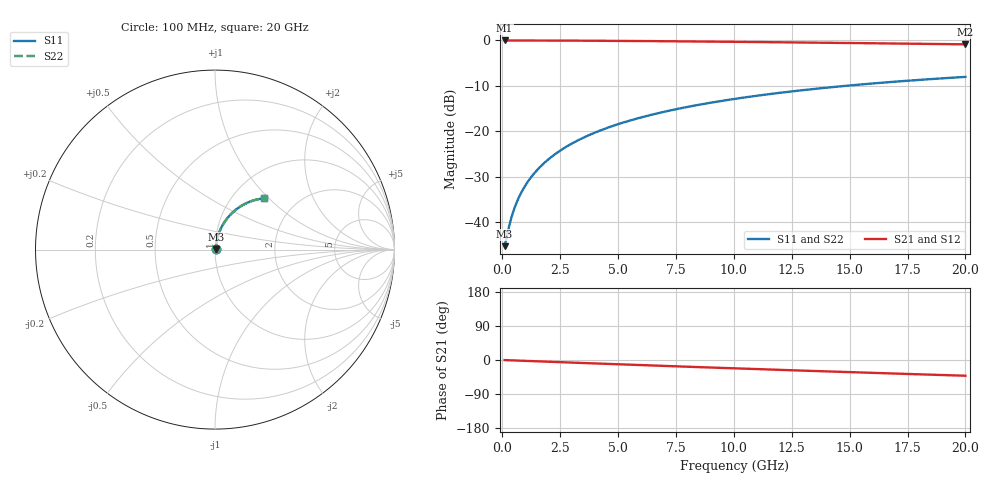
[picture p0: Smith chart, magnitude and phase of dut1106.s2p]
! Touchstone file exported from HFSS 2026.1.0
!  File:  C:/ffzhzh/LocalFiles/Ansys_Project_Files/temp_train_TMRDL_1106_1783161345_43440.aedt
!  Generated:  06:36:57 PM Jul  4, 2026
!  Design:  TMRDL
!  Project:  temp_train_TMRDL_1106_1783161345_43440
! Variables:
!  h_bsmrdl = 2um
!  h_ox = 20um
!  h_rdl = 5um
!  h_sub = 80um
!  h_tmrdl = 4.57um
!  h_tsv = 80um
!  h_via = 3um
!  l_bsmrdl = 300um
!  l_sub = 1023.63um
!  l_tmrdl = 623.63um
!  m_sub = 200um
!  pitch = 29.67um
!  r_tsv = 6um
!  s_tmrdl = 10um
!  w_bsmrdl = 18um
!  w_sub = 500um
!  w_tmrdl = 10.1um
!  x_tsv_center1 = 628.68um
!  x_tsv_center2 = 946.68um
!  x_tsv_center3 = 1580.41um
!  x_tsv_center4 = 1898.41um
!  x_tsv_center5 = 2532.14um
!  x_tsv_center6 = 2850.14um
# GHz S MA R 50.000000
! Terminal data exported
! Port[1] = TM_RDL1_1_T1
! Port[2] = TM_RDL1_1_T2
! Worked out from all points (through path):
!   200 points, 100 MHz to 20 GHz, reference 50 ohm
!   highest |S21| = -0.04 dB at 100 MHz (marker M1); lowest = -0.9 dB at 20 GHz (marker M2)
!   group delay of S21, straight-line fit = 5.76 ps
!   lowest |S11| = -45.3 dB at 100 MHz (marker M3), VSWR 1.01, Z = 50.5 + j0.259 ohm
!   |S11| at or under -10 dB: start of sweep to 14.87 GHz
!   |S22| runs from -45.3 to -8.1 dB; largest |S21 - S12| = 4.3e-15
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0.1  0.005446 28.2  0.9952 -0.2  0.9952 -0.2  0.005446 28.2
! Gamma 0 0 0 0
! Port Impedance 50 0 50 0
0.3  0.009147 56.5  0.995 -0.7  0.995 -0.7  0.009147 56.5
0.4  0.01137 62.6  0.9949 -0.9  0.9949 -0.9  0.01137 62.6
0.5  0.01366 66.6  0.9948 -1.2  0.9948 -1.2  0.01366 66.6
0.6  0.01599 69.4  0.9946 -1.4  0.9946 -1.4  0.01599 69.4
0.7  0.01833 71.4  0.9945 -1.6  0.9945 -1.6  0.01833 71.4
0.9  0.02304 74.2  0.9943 -2.1  0.9943 -2.1  0.02304 74.2
1.2  0.03017 76.4  0.9939 -2.8  0.9939 -2.8  0.03017 76.4
1.4  0.03494 77.3  0.9937 -3.2  0.9937 -3.2  0.03494 77.3
1.7  0.04211 78.0  0.9933 -3.9  0.9933 -3.9  0.04211 78.0
2.2  0.05406 78.4  0.9924 -5.0  0.9924 -5.0  0.05406 78.4
2.8  0.06834 78.0  0.9911 -6.4  0.9911 -6.4  0.06834 78.0
3.5  0.08485 77.2  0.9893 -8.0  0.9893 -8.0  0.08485 77.2
4.2  0.1011 76.1  0.9872 -9.5  0.9872 -9.5  0.1011 76.1
5  0.1195 74.7  0.9844 -11.3  0.9844 -11.3  0.1195 74.6
5.9  0.1397 72.9  0.9809 -13.3  0.9809 -13.3  0.1397 72.9
6.8  0.1594 71.2  0.9772 -15.2  0.9772 -15.2  0.1594 71.2
8.3  0.1914 68.2  0.9702 -18.4  0.9702 -18.4  0.1914 68.2
10.1  0.228 64.7  0.9611 -22.2  0.9611 -22.2  0.228 64.7
13.4  0.2904 58.3  0.9426 -28.9  0.9426 -28.9  0.2904 58.3
16.7  0.3464 52.2  0.9227 -35.3  0.9227 -35.3  0.3464 52.1
20  0.3958 46.2  0.9022 -41.5  0.9022 -41.5  0.3958 46.2
